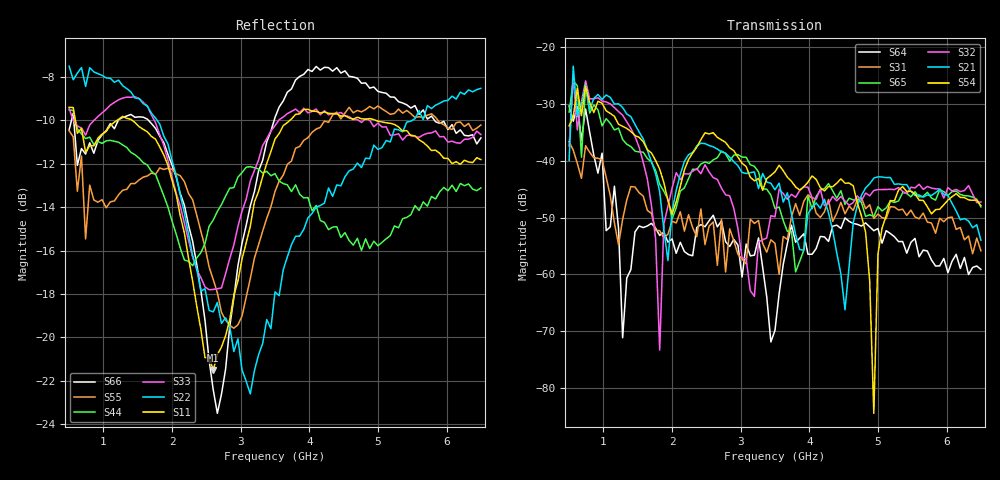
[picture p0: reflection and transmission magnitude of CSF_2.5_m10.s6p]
!Keysight Technologies,M9804A,MY58100912,A.14.10.03
!Date: Thursday, April 27, 2023 10:28:33
!Correction: S11(C  6-Port  )
!S12(C  6-Port  )
!S13(C  6-Port  )
!S14(C  6-Port  )
!S15(C  6-Port  )
!S16(C  6-Port  )
!S21(C  6-Port  )
!S22(C  6-Port  )
!S23(C  6-Port  )
!S24(C  6-Port  )
!S25(C  6-Port  )
!S26(C  6-Port  )
!S31(C  6-Port  )
!S32(C  6-Port  )
!S33(C  6-Port  )
!S34(C  6-Port  )
!S35(C  6-Port  )
!S36(C  6-Port  )
!S41(C  6-Port  )
!S42(C  6-Port  )
!S43(C  6-Port  )
!S44(C  6-Port  )
!S45(C  6-Port  )
!S46(C  6-Port  )
!S51(C  6-Port  )
!S52(C  6-Port  )
!S53(C  6-Port  )
!S54(C  6-Port  )
!S55(C  6-Port  )
!S56(C  6-Port  )
!S61(C  6-Port  )
!S62(C  6-Port  )
!S63(C  6-Port  )
!S64(C  6-Port  )
!S65(C  6-Port  )
!S66(C  6-Port  )
!S6P File: Measurement: :
# Hz S  RI  R 50
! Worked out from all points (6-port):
!   101 points, 500 MHz to 6.5 GHz, reference 50 ohm
!   strongest paths, dB at 500 MHz, 2 GHz, 3.5 GHz, 5 GHz, 6.5 GHz:
!     S54: -33.9, -49.4, -42.0, -56.4, -47.9
!     S21: -40.0, -48.9, -45.1, -42.8, -54.0
!     S32: -37.5, -44.8, -49.9, -45.1, -47.3
!     S65: -31.5, -50.2, -48.4, -48.1, -48.1
!     S31: -36.7, -50.6, -54.5, -49.4, -55.8
!     S64: -30.4, -53.8, -69.8, -51.9, -59.1
!   lowest |S11| = -21.5 dB at 2.6 GHz (marker M1), VSWR 1.18, Z = 42.5 + j2.15 ohm
!   |S11| at or under -10 dB: 590.2 MHz to 1.196 GHz (605.8 MHz wide, 67.8 % of centre); 1.421 GHz to 3.715 GHz (2.293 GHz wide, 89.3 % of centre); 4.972 GHz to end of sweep
